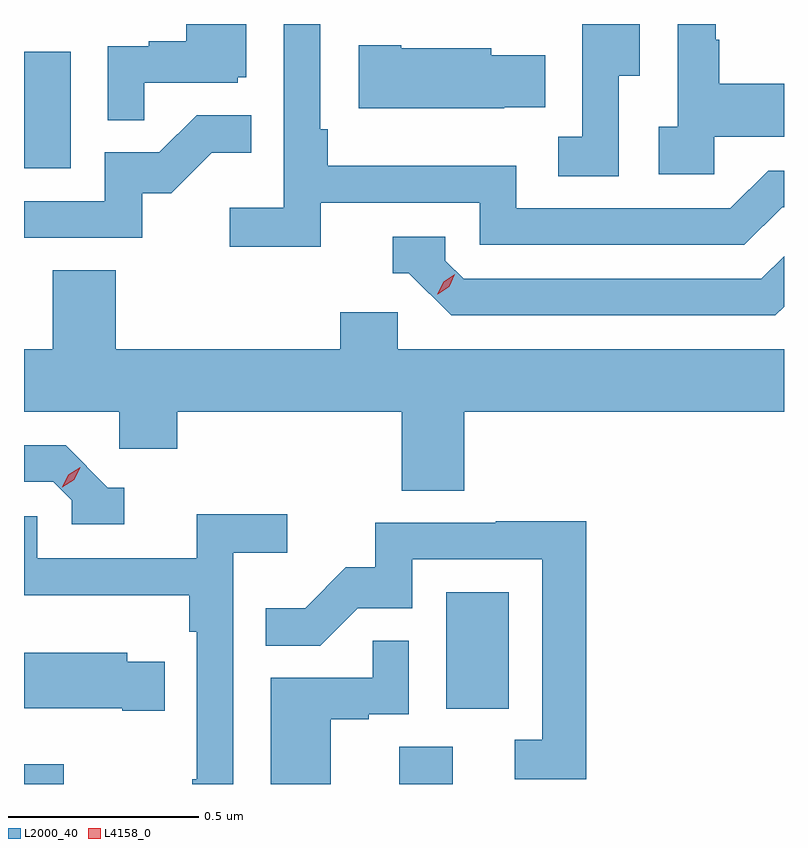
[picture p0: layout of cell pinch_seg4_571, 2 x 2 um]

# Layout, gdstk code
import gdstk
lib = gdstk.Library(unit=1e-6, precision=1e-09)
def R(c, l, rs):  # rectangles x0, y0, x1, y1
    for r in rs: c.add(gdstk.rectangle(r[:2], r[2:], *l))
def P(c, l, *ps):  # polygons
    for p in ps: c.add(gdstk.Polygon(p, *l))
L2000_40 = (2000, 40)
L4158_0 = (4158, 0)

pinch_seg4_571 = lib.new_cell('pinch_seg4_571')
R(pinch_seg4_571, L2000_40, [(1101.757,782.52,1101.861,782.572), (1102.745,782.52,1102.885,782.618), (1102.868,782.718,1103.032,783.025), (1101.757,784.14,1101.88,784.447)])
P(pinch_seg4_571, L2000_40, [(1102.538,784.05),(1102.956,784.05),(1102.956,783.939),(1103.653,783.939),(1103.752,784.038),(1103.757,784.038),(1103.757,784.134),(1103.715,784.134),(1103.616,784.035),(1103.052,784.035),(1103.052,784.147),(1102.556,784.147),(1102.556,784.243),(1102.536,784.243),(1102.536,784.52),(1102.44,784.52),(1102.44,784.036),(1102.299,784.036),(1102.299,783.934),(1102.538,783.934)],
  [(1102.073,784.365),(1102.32,784.365),(1102.32,784.38),(1102.342,784.38),(1102.342,784.52),(1102.184,784.52),(1102.184,784.474),(1102.085,784.474),(1102.085,784.461),(1101.978,784.461),(1101.978,784.267),(1102.073,784.267)],
  [(1103.574,784.223),(1103.757,784.223),(1103.757,784.363),(1103.587,784.363),(1103.587,784.478),(1103.577,784.478),(1103.577,784.52),(1103.478,784.52),(1103.478,784.25),(1103.427,784.25),(1103.427,784.125),(1103.574,784.125)],
  [(1103.322,784.384),(1103.377,784.384),(1103.377,784.52),(1103.226,784.52),(1103.226,784.223),(1103.163,784.223),(1103.163,784.12),(1103.322,784.12)],
  [(1103.021,784.301),(1103.129,784.301),(1103.129,784.438),(1102.986,784.438),(1102.986,784.456),(1102.75,784.456),(1102.75,784.464),(1102.638,784.464),(1102.638,784.298),(1103.021,784.298)],
  [(1102.068,784.074),(1102.144,784.074),(1102.251,784.181),(1102.355,784.181),(1102.355,784.28),(1102.211,784.28),(1102.113,784.182),(1101.969,784.182),(1101.969,784.053),(1101.757,784.053),(1101.757,783.957),(1102.068,783.957)],
  [(1103.757,783.776),(1103.757,783.909),(1103.697,783.849),(1102.914,783.849),(1102.866,783.897),(1102.866,783.96),(1102.727,783.96),(1102.727,783.864),(1102.77,783.864),(1102.881,783.753),(1103.734,783.753)],
  [(1102.916,783.5),(1103.757,783.5),(1103.757,783.664),(1102.74,783.664),(1102.74,783.762),(1102.589,783.762),(1102.589,783.664),(1101.998,783.664),(1101.998,783.872),(1101.833,783.872),(1101.833,783.664),(1101.757,783.664),(1101.757,783.5),(1102.008,783.5),(1102.008,783.402),(1102.16,783.402),(1102.16,783.5),(1102.751,783.5),(1102.751,783.292),(1102.916,783.292)],
  [(1102.021,783.3),(1101.978,783.3),(1101.867,783.411),(1101.757,783.411),(1101.757,783.315),(1101.834,783.315),(1101.882,783.267),(1101.882,783.204),(1102.021,783.204)],
  [(1102.308,783.128),(1102.45,783.128),(1102.45,783.23),(1102.211,783.23),(1102.211,783.114),(1101.792,783.114),(1101.792,783.225),(1101.757,783.225),(1101.757,783.017),(1102.192,783.017),(1102.192,782.921),(1102.212,782.921),(1102.212,782.533),(1102.2,782.533),(1102.2,782.52),(1102.308,782.52)],
  [(1103.237,783.212),(1102.999,783.212),(1102.999,783.207),(1102.681,783.207),(1102.681,783.09),(1102.604,783.09),(1102.497,782.983),(1102.393,782.983),(1102.393,782.884),(1102.537,782.884),(1102.635,782.982),(1102.779,782.982),(1102.779,783.111),(1103.121,783.111),(1103.121,782.637),(1103.049,782.637),(1103.049,782.532),(1103.237,782.532)],
  [(1102.564,782.691),(1102.664,782.691),(1102.664,782.703),(1102.77,782.703),(1102.77,782.897),(1102.675,782.897),(1102.675,782.799),(1102.406,782.799),(1102.406,782.52),(1102.564,782.52)],
  [(1102.127,782.842),(1102.029,782.842),(1102.029,782.866),(1101.757,782.866),(1101.757,782.72),(1102.016,782.72),(1102.016,782.713),(1102.127,782.713)])
P(pinch_seg4_571, L4158_0, [(1101.858,783.301),(1101.858,783.302),(1101.874,783.334),(1101.905,783.353),(1101.905,783.353),(1101.905,783.353),(1101.889,783.321),(1101.858,783.301)],
  [(1102.845,783.809),(1102.845,783.809),(1102.861,783.842),(1102.891,783.861),(1102.891,783.861),(1102.891,783.861),(1102.876,783.828),(1102.846,783.809)])

lib.write_gds('pinch_seg4_571.gds')
